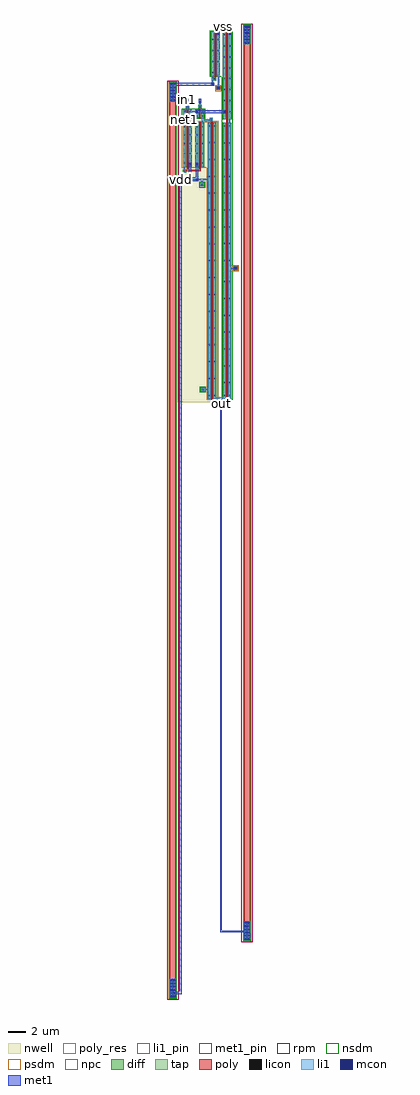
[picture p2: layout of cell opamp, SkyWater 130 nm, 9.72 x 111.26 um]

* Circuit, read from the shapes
.subckt opamp in1 in2 net1 out out1 vdd vss
XM1 n1 in1 net1 vss sky130_fd_pr__nfet_01v8 w=0.89 l=0.15
XM2 out1 in2 n1 vss sky130_fd_pr__nfet_01v8 w=0.89 l=0.15
XM3 vss n2 n2 vss sky130_fd_pr__nfet_01v8 w=5 l=0.15
XM4 vss n2 out vss sky130_fd_pr__nfet_01v8 w=31.41 l=0.15
XM5 vss n2 n1 vss sky130_fd_pr__nfet_01v8 w=10 l=0.15
XM6 vdd net1 net1 vdd sky130_fd_pr__pfet_01v8 w=5 l=0.15
XM7 out1 net1 vdd vdd sky130_fd_pr__pfet_01v8 w=5 l=0.15
XM8 out out1 vdd vdd sky130_fd_pr__pfet_01v8 w=31.41 l=0.15
XR9 n2 vdd vss sky130_fd_pr__res_high_po w=0.69 l=100
XR10 n3 out vss sky130_fd_pr__res_high_po w=0.69 l=100
.ends

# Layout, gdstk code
import gdstk
lib = gdstk.Library(unit=1e-6, precision=1e-09)
def R(c, l, rs):  # rectangles x0, y0, x1, y1
    for r in rs: c.add(gdstk.rectangle(r[:2], r[2:], *l))
def A(c, l, x, y, w, h, nx, ny, dx, dy):  # array of equal rectangles
    R(c, l, [(x+i*dx, y+j*dy, x+i*dx+w, y+j*dy+h) for i in range(nx) for j in range(ny)])
nwell = (64, 20)
diff = (65, 20)
tap = (65, 44)
poly_res = (66, 13)
poly = (66, 20)
licon = (66, 44)
li1_pin = (67, 16)
li1 = (67, 20)
mcon = (67, 44)
met1_pin = (68, 16)
met1 = (68, 20)
rpm = (86, 20)
nsdm = (93, 44)
psdm = (94, 20)
npc = (95, 20)

sky130_fd_pr__res_high_p = lib.new_cell('sky130_fd_pr__res_high_po_0p69_842TQM')
R(sky130_fd_pr__res_high_p, poly_res, [(-0.345,-50.06,0.345,50.06)])
R(sky130_fd_pr__res_high_p, poly, [(-0.345,-52.16,0.345,52.16)])
R(sky130_fd_pr__res_high_p, licon, [(-0.095,-52.08,0.095,-50.08), (-0.095,50.08,0.095,52.08)])
R(sky130_fd_pr__res_high_p, li1, [(-0.345,-52.16,0.345,-50), (-0.345,50,0.345,52.16)])
A(sky130_fd_pr__res_high_p, mcon, -0.265, -52.06, 0.17, 0.17, 1, 6, 0, 0.36)
A(sky130_fd_pr__res_high_p, mcon, 0.095, -52.06, 0.17, 0.17, 1, 6, 0, 0.36)
A(sky130_fd_pr__res_high_p, mcon, -0.265, 50.095, 0.17, 0.17, 1, 6, 0, 0.36)
A(sky130_fd_pr__res_high_p, mcon, 0.095, 50.095, 0.17, 0.17, 1, 6, 0, 0.36)
R(sky130_fd_pr__res_high_p, met1, [(-0.295,-52.13,0.295,-50.025), (-0.295,50.025,0.295,52.13)])
R(sky130_fd_pr__res_high_p, rpm, [(-0.635,-52.36,0.635,52.36)])
R(sky130_fd_pr__res_high_p, psdm, [(-0.455,-52.27,0.455,52.27)])
R(sky130_fd_pr__res_high_p, npc, [(-0.44,-52.255,0.44,52.255)])

opamp = lib.new_cell('opamp')
R(opamp, nwell, [(-0.77,-32,3.9,0.06)])
R(opamp, diff, [(2.61,-31.6,3.62,-0.19), (4.32,-31.6,5.32,-0.19), (-0.19,-5.19,0.82,-0.19), (1.21,-5.19,2.22,-0.19), (4.36,0.22,5.37,10.22), (-0.19,0.41,0.82,1.3), (1.21,0.41,2.22,1.3), (2.96,5.22,3.97,10.22)])
R(opamp, tap, [(1.83,-30.78,2.27,-30.36), (5.6,-16.97,6.04,-16.55), (1.76,-7.43,2.2,-7.01), (3.61,3.57,4.05,3.99)])
R(opamp, poly_res, [(6.76,-91.27,7.45,8.85)])
R(opamp, poly, [(6.76,-93.37,7.45,10.95), (3.05,-31.73,3.2,0.03), (4.75,-31.73,4.9,10.35), (-0.19,-5.84,0.14,-5.7), (-0.19,-5.7,1.8,-5.55), (0.24,-5.55,0.39,-0.06), (1.65,-5.55,1.8,-0.06), (2.87,0.03,3.2,0.37), (0.24,0.28,0.39,1.5), (1.64,0.28,1.79,1.5), (0.15,1.5,0.48,1.83), (1.57,1.5,1.9,1.83), (3.25,4.67,3.58,5), (3.43,5,3.58,10.35), (3.43,10.35,4.9,10.5)])
A(opamp, licon, 4.45, -29.875, 0.17, 0.17, 1, 7, 0, 1.92)
A(opamp, licon, 5.03, -29.875, 0.17, 0.17, 1, 7, 0, 1.92)
A(opamp, licon, 2.74, -23.645, 0.17, 0.17, 1, 13, 0, 1.92)
A(opamp, licon, 3.32, -23.645, 0.17, 0.17, 1, 13, 0, 1.92)
A(opamp, licon, 4.45, -15.955, 0.17, 0.17, 1, 5, 0, 1.92)
A(opamp, licon, 5.03, -15.955, 0.17, 0.17, 1, 5, 0, 1.92)
A(opamp, licon, 4.46, 1.005, 0.17, 0.17, 1, 4, 0, 1.26)
A(opamp, licon, 5.04, 1.005, 0.17, 0.17, 1, 4, 0, 1.26)
A(opamp, licon, 3.12, 5.485, 0.17, 0.17, 1, 4, 0, 1.26)
A(opamp, licon, 4.46, 6.005, 0.17, 0.17, 1, 4, 0, 1.26)
A(opamp, licon, 5.04, 6.005, 0.17, 0.17, 1, 3, 0, 1.26)
A(opamp, licon, 3.7, 6.745, 0.17, 0.17, 1, 3, 0, 1.26)
R(opamp, licon, [(7.01,-93.29,7.2,-91.29), (2.76,-31.325,2.93,-31.155), (3.34,-31.325,3.51,-31.155), (4.45,-31.315,4.62,-31.145), (5.03,-31.315,5.2,-31.145), (1.98,-30.66,2.15,-30.49), (2.76,-29.405,2.93,-29.235), (3.34,-29.405,3.51,-29.235), (2.75,-27.485,2.92,-27.315), (3.33,-27.485,3.5,-27.315), (2.75,-25.565,2.92,-25.395), (3.33,-25.565,3.5,-25.395), (5.74,-16.85,5.91,-16.68), (1.91,-7.31,2.08,-7.14), (4.45,-6.365,4.62,-6.195), (5.03,-6.365,5.2,-6.195), (-0.11,-5.78,0.06,-5.61), (1.34,-5.01,1.51,-4.84), (0.52,-4.99,0.69,-4.82), (-0.09,-4.865,0.08,-4.695), (1.94,-4.865,2.11,-4.695), (4.44,-4.455,4.61,-4.285), (5.02,-4.455,5.19,-4.285), (-0.09,-3.745,0.08,-3.575), (0.51,-3.745,0.68,-3.575), (1.33,-3.745,1.5,-3.575), (1.94,-3.745,2.11,-3.575), (-0.09,-2.605,0.08,-2.435), (0.51,-2.605,0.68,-2.435), (1.33,-2.605,1.5,-2.435), (1.94,-2.605,2.11,-2.435), (4.44,-2.535,4.61,-2.365), (5.02,-2.535,5.19,-2.365), (-0.09,-1.625,0.08,-1.455), (0.51,-1.625,0.68,-1.455), (1.33,-1.625,1.5,-1.455), (1.94,-1.625,2.11,-1.455), (-0.09,-0.705,0.08,-0.535), (0.51,-0.705,0.68,-0.535), (1.33,-0.705,1.5,-0.535), (1.94,-0.705,2.11,-0.535), (4.43,-0.615,4.6,-0.445), (5.01,-0.615,5.18,-0.445), (2.94,0.12,3.11,0.29), (-0.06,0.54,0.11,0.71), (0.52,0.54,0.69,0.71), (1.33,0.54,1.5,0.71), (1.92,0.54,2.09,0.71), (-0.06,1.01,0.11,1.18), (0.52,1.01,0.69,1.18), (1.33,1.01,1.5,1.18), (1.92,1.01,2.09,1.18), (0.23,1.59,0.4,1.76), (1.65,1.59,1.82,1.76), (3.75,3.69,3.92,3.86), (3.31,4.75,3.48,4.92), (7.01,8.87,7.2,10.87), (3.7,9.95,3.87,10.12), (5.07,9.96,5.24,10.13)])
R(opamp, li1_pin, [(-0.04,0.13,0.05,0.2), (2.25,0.14,2.4,0.2)])
R(opamp, li1, [(6.76,-93.37,7.45,-91.21), (3.97,-32.13,4.3,-31.79), (4.06,-31.79,4.23,-31.6), (2.68,-31.6,2.97,-30.66), (3.26,-31.6,4.68,-31.43), (4.97,-31.6,5.26,-16.85), (3.26,-31.43,3.55,-0.19), (4.39,-31.43,4.68,-0.19), (1.91,-30.74,2.21,-30.66), (1.91,-30.66,2.97,-30.49), (1.91,-30.49,2.21,-30.41), (2.68,-30.49,2.97,-6.7), (5.65,-16.93,5.98,-16.85), (4.97,-16.85,5.98,-16.68), (4.97,-16.68,5.26,-0.19), (5.65,-16.68,5.98,-16.6), (1.84,-7.39,2.14,-7.06), (1.88,-7.06,2.05,-6.7), (-0.66,-6.7,2.97,-6.53), (2.68,-6.53,2.97,-0.19), (-0.19,-5.84,0.14,-5.55), (-0.1,-5.55,0.07,-5.19), (-0.15,-5.19,0.14,-0.19), (0.45,-5.19,0.74,-0.19), (1.27,-5.19,1.56,-0.19), (1.88,-5.19,2.17,-0.19), (-0.08,-0.19,0.09,0.41), (1.94,-0.19,2.11,0.06), (5.01,-0.19,5.18,0.22), (2.87,0.03,3.2,0.06), (1.94,0.06,3.2,0.23), (4.41,0.22,4.7,10.22), (4.99,0.22,5.28,9.87), (1.94,0.23,2.11,0.41), (2.87,0.23,3.2,0.37), (-0.12,0.41,0.17,1.3), (0.46,0.41,0.75,1.01), (1.27,0.41,1.56,1.01), (1.86,0.41,2.15,1.3), (0.46,1.01,1.56,1.18), (0.46,1.18,0.75,1.3), (1.27,1.18,1.56,1.3), (0.15,1.5,0.48,1.83), (1.57,1.5,1.9,1.83), (0.23,1.83,0.4,2.03), (1.65,1.83,1.82,2.04), (0.15,2.03,0.48,2.36), (1.58,2.04,1.91,2.36), (3.66,3.61,3.99,3.94), (3.75,3.94,3.92,5.22), (3.01,4.07,3.32,4.4), (3.08,4.4,3.25,4.67), (3.08,4.67,3.58,5), (3.08,5,3.25,5.22), (3.05,5.22,3.34,10.22), (3.63,5.22,3.92,9.88), (6.76,8.79,7.45,10.95), (4.99,9.87,5.31,10.22), (3.63,9.88,3.95,10.22)])
A(opamp, mcon, 6.84, -93.27, 0.17, 0.17, 1, 6, 0, 0.36)
A(opamp, mcon, 7.2, -93.27, 0.17, 0.17, 1, 6, 0, 0.36)
A(opamp, mcon, 6.84, 8.885, 0.17, 0.17, 1, 6, 0, 0.36)
A(opamp, mcon, 7.2, 8.885, 0.17, 0.17, 1, 6, 0, 0.36)
R(opamp, mcon, [(4.06,-32.03,4.23,-31.86), (5.74,-16.85,5.91,-16.68), (0.51,-6.7,0.68,-6.53), (1.34,-6.7,1.51,-6.53), (1.34,-5.01,1.51,-4.84), (0.52,-4.99,0.69,-4.82), (1.33,1.01,1.5,1.18), (4.46,1.02,4.63,1.19), (0.23,2.11,0.4,2.28), (1.65,2.11,1.82,2.28), (3.75,3.69,3.92,3.86), (3.08,4.14,3.25,4.31), (3.7,9.95,3.87,10.12), (5.07,9.96,5.24,10.13)])
R(opamp, met1_pin, [(4.12,-32.24,4.19,-32.19), (-0.45,-6.66,-0.36,-6.59), (0.24,2.44,0.37,2.52), (1.7,2.44,1.77,2.53), (4.42,10.83,4.51,10.9)])
R(opamp, met1, [(-1.485,-99.525,-0.34,-99.235), (-0.63,-99.235,-0.34,-7.14), (6.81,-93.34,7.4,-92.985), (6.765,-92.985,7.45,-92.695), (6.81,-92.695,7.4,-92.47), (4.035,-92.47,7.4,-92.265), (4.035,-92.265,4.24,-32.27), (6.81,-92.265,7.4,-91.235), (3.97,-32.27,4.3,-31.79), (5.65,-16.93,5.98,-16.6), (-0.66,-7.14,-0.31,-6.85), (-0.66,-6.85,1.56,-6.37), (0.45,-6.37,0.74,-4.74), (1.27,-6.37,1.56,-4.74), (1.27,0.92,4.68,1.25), (0.15,2.03,0.48,2.56), (1.58,2.04,1.91,2.57), (3.66,3.61,3.99,3.94), (-1.51,4.07,3.34,4.42), (6.81,8.815,7.4,10.61), (4.99,9.87,5.31,10.57), (3.63,9.88,3.95,10.57), (3.63,10.57,5.31,11.05), (6.76,10.61,7.45,10.96)])
R(opamp, rpm, [(6.47,-93.57,7.74,11.15)])
R(opamp, nsdm, [(4.195,-31.725,5.445,-0.065), (1.705,-30.905,2.395,-30.235), (1.635,-7.555,2.325,-6.885), (4.235,-0.065,5.445,0.095), (4.235,0.095,5.495,5.095), (-0.315,0.285,2.345,1.425), (2.835,5.095,5.495,10.345)])
R(opamp, psdm, [(6.65,-93.48,7.56,11.06), (2.485,-31.725,3.745,-5.315), (5.475,-17.095,6.165,-16.425), (-0.315,-5.315,3.745,-0.065), (3.485,3.445,4.175,4.115)])
R(opamp, npc, [(6.665,-93.465,7.545,11.045), (-0.21,-5.88,0.16,-5.51), (2.84,0.02,3.21,0.39), (0.13,1.49,0.5,1.86), (1.55,1.49,1.92,1.86), (3.21,4.65,3.58,5.02)])
opamp.add(gdstk.Reference(sky130_fd_pr__res_high_p, (-1.345,-47.75)))
opamp.add(gdstk.Label('in1', (0.305,2.48), layer=68, texttype=16))
opamp.add(gdstk.Label('in2', (1.735,2.485), layer=68, texttype=16))
opamp.add(gdstk.Label('out', (4.155,-32.215), layer=68, texttype=16))
opamp.add(gdstk.Label('vss', (4.465,10.865), layer=68, texttype=16))
opamp.add(gdstk.Label('vdd', (-0.405,-6.625), layer=68, texttype=16))
opamp.add(gdstk.Label('net1', (0.005,0.165), layer=67, texttype=16))
opamp.add(gdstk.Label('out1', (2.325,0.17), layer=67, texttype=16))

lib.write_gds('opamp.gds')
